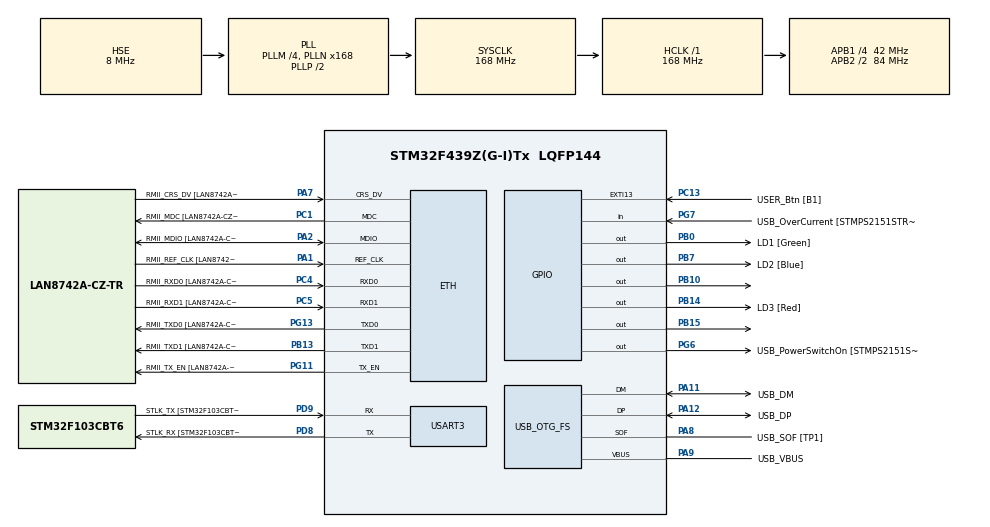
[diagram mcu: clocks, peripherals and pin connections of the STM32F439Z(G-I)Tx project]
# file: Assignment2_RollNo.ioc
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ETH.MediaInterface=HAL_ETH_RMII_MODE
ETH.PHY_Name=LAN8742A_PHY_ADDRESS
ETH.PHY_Value=0
ETH.PhyAddress=0
Mcu.Family=STM32F4
Mcu.Name=STM32F439Z(G-I)Tx
Mcu.Package=LQFP144
NVIC.PriorityGroup=NVIC_PRIORITYGROUP_4
PA1.GPIO_Label=RMII_REF_CLK [LAN8742A-CZ-TR_REFCLK0]
PA1.Mode=RMII
PA1.Signal=ETH_REF_CLK
PA10.GPIO_Label=USB_ID
PA10.Signal=USB_OTG_FS_ID
PA11.GPIO_Label=USB_DM
PA11.Mode=Device_Only
PA11.Signal=USB_OTG_FS_DM
PA12.GPIO_Label=USB_DP
PA12.Mode=Device_Only
PA12.Signal=USB_OTG_FS_DP
PA13.GPIO_Label=TMS
PA13.Mode=Serial_Wire
PA13.Signal=SYS_JTMS-SWDIO
PA14.GPIO_Label=TCK
PA14.Mode=Serial_Wire
PA14.Signal=SYS_JTCK-SWCLK
PA2.GPIO_Label=RMII_MDIO [LAN8742A-CZ-TR_MDIO]
PA2.Mode=RMII
PA2.Signal=ETH_MDIO
PA7.GPIO_Label=RMII_CRS_DV [LAN8742A-CZ-TR_CRS_DV]
PA7.Mode=RMII
PA7.Signal=ETH_CRS_DV
PA8.GPIO_Label=USB_SOF [TP1]
PA8.Mode=Activate_SOF_FS
PA8.Signal=USB_OTG_FS_SOF
PA9.GPIO_Label=USB_VBUS
PA9.Mode=Activate_VBUS
PA9.Signal=USB_OTG_FS_VBUS
PB0.GPIO_Label=LD1 [Green]
PB0.Signal=GPIO_Output
PB10.Signal=GPIO_Output
PB13.GPIO_Label=RMII_TXD1 [LAN8742A-CZ-TR_TXD1]
PB13.Mode=RMII
PB13.Signal=ETH_TXD1
PB14.GPIO_Label=LD3 [Red]
PB14.Signal=GPIO_Output
PB15.Signal=GPIO_Output
PB7.GPIO_Label=LD2 [Blue]
PB7.Signal=GPIO_Output
PC1.GPIO_Label=RMII_MDC [LAN8742A-CZ-TR_MDC]
PC1.Mode=RMII
PC1.Signal=ETH_MDC
PC13.GPIO_Label=USER_Btn [B1]
PC13.Signal=GPXTI13
PC14/OSC32_IN.Mode=LSE-External-Oscillator
PC14/OSC32_IN.Signal=RCC_OSC32_IN
PC15/OSC32_OUT.Mode=LSE-External-Oscillator
PC15/OSC32_OUT.Signal=RCC_OSC32_OUT
PC4.GPIO_Label=RMII_RXD0 [LAN8742A-CZ-TR_RXD0]
PC4.Mode=RMII
PC4.Signal=ETH_RXD0
PC5.GPIO_Label=RMII_RXD1 [LAN8742A-CZ-TR_RXD1]
PC5.Mode=RMII
PC5.Signal=ETH_RXD1
PD8.GPIO_Label=STLK_RX [STM32F103CBT6_PA3]
PD8.Mode=Asynchronous
PD8.Signal=USART3_TX
PD9.GPIO_Label=STLK_TX [STM32F103CBT6_PA2]
PD9.Mode=Asynchronous
PD9.Signal=USART3_RX
PG11.GPIO_Label=RMII_TX_EN [LAN8742A-CZ-TR_TXEN]
PG11.Mode=RMII
PG11.Signal=ETH_TX_EN
PG13.GPIO_Label=RMII_TXD0 [LAN8742A-CZ-TR_TXD0]
PG13.Mode=RMII
PG13.Signal=ETH_TXD0
PG6.GPIO_Label=USB_PowerSwitchOn [STMPS2151STR_EN]
PG6.Signal=GPIO_Output
PG7.GPIO_Label=USB_OverCurrent [STMPS2151STR_FAULT]
PG7.Signal=GPIO_Input
PH0/OSC_IN.GPIO_Label=MCO [STM32F103CBT6_PA8]
PH0/OSC_IN.Mode=HSE-External-Clock-Source
PH0/OSC_IN.Signal=RCC_OSC_IN
PH1/OSC_OUT.Mode=HSE-External-Clock-Source
PH1/OSC_OUT.Signal=RCC_OSC_OUT
ProjectManager.HeapSize=0x200
ProjectManager.StackSize=0x400
ProjectManager.TargetToolchain=STM32CubeIDE
RCC.48MHZClocksFreq_Value=48000000
RCC.AHBFreq_Value=168000000
RCC.APB1CLKDivider=RCC_HCLK_DIV4
RCC.APB1Freq_Value=42000000
RCC.APB1TimFreq_Value=84000000
RCC.APB2CLKDivider=RCC_HCLK_DIV2
RCC.APB2Freq_Value=84000000
RCC.APB2TimCLKDivider=2
RCC.APB2TimFreq_Value=168000000
RCC.CortexFreq_Value=168000000
RCC.HCLKFreq_Value=168000000
RCC.HSE_VALUE=8000000
RCC.HSI_VALUE=16000000
RCC.PLLM=4
RCC.PLLMUL=RCC_PLL_MUL9
RCC.PLLN=168
RCC.PLLQ=7
RCC.PRESCALERUSB=RCC_USBCLKSOURCE_PLL_DIV1_5
RCC.SYSCLKFreq_VALUE=168000000
RCC.SYSCLKSource=RCC_SYSCLKSOURCE_PLLCLK
RCC.SYSCLKSourceVirtual=RCC_SYSCLKSOURCE_PLLCLK
RCC.USBFreq_Value=48000000
RCC.VCOOutputFreq_Value=336000000
USART3.VirtualMode=VM_ASYNC
USB_OTG_FS.VirtualMode=Device_Only
board=NUCLEO-F439ZI

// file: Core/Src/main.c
/* USER CODE BEGIN Header */
/**
  ******************************************************************************
  * @file           : main.c
  * @brief          : Main program body
  ******************************************************************************
  * @attention
  *
  * Copyright (c) 2025 STMicroelectronics.
  * All rights reserved.
  *
  * This software is licensed under terms that can be found in the LICENSE file
  * in the root directory of this software component.
  * If no LICENSE file comes with this software, it is provided AS-IS.
  *
  ******************************************************************************
  */
/* USER CODE END Header */
#include "main.h"
#include "string.h"

/* USER CODE BEGIN Includes */
	int roll_no[] = {2,2,1,1,0,1,4,5,10,2,2,1,1,0,1,7,9}; //10 acts as a delimiter
	int time_unit = 1000;
	int size_roll_no = sizeof(roll_no) / sizeof(roll_no[0]);
/* USER CODE END Includes */

ETH_TxPacketConfig TxConfig;
ETH_DMADescTypeDef  DMARxDscrTab[ETH_RX_DESC_CNT]; /* Ethernet Rx DMA Descriptors */
ETH_DMADescTypeDef  DMATxDscrTab[ETH_TX_DESC_CNT]; /* Ethernet Tx DMA Descriptors */

ETH_HandleTypeDef heth;

UART_HandleTypeDef huart3;

PCD_HandleTypeDef hpcd_USB_OTG_FS;

void SystemClock_Config(void);
static void MX_GPIO_Init(void);
static void MX_ETH_Init(void);
static void MX_USART3_UART_Init(void);
static void MX_USB_OTG_FS_PCD_Init(void);

int main(void)
{

  /* MCU Configuration--------------------------------------------------------*/

  /* Reset of all peripherals, Initializes the Flash interface and the Systick. */
  HAL_Init();

  /* Configure the system clock */
  SystemClock_Config();

  /* Initialize all configured peripherals */
  MX_GPIO_Init();
  MX_ETH_Init();
  MX_USART3_UART_Init();
  MX_USB_OTG_FS_PCD_Init();

  /* Infinite loop */
  while (1)
  {

    /* USER CODE BEGIN 3 */
	  for (int i =0; i < size_roll_no; i++){
	  	if(roll_no[i] == 10){
	  			HAL_Delay(2*time_unit);
	  		}
	  	else {
	  		if (i>0){
	  		HAL_Delay(3*time_unit);
	  		}

			if(roll_no[i] == 0){
						HAL_GPIO_WritePin(GPIOB, GPIO_PIN_10, 1);
						HAL_Delay(time_unit);
						HAL_GPIO_WritePin(GPIOB, GPIO_PIN_10, 0);
					}
				int shift_num = roll_no[i] ;
				HAL_GPIO_WritePin(GPIOB, LD1_Pin, shift_num & 1 );
				shift_num = shift_num >> 1;
				HAL_GPIO_WritePin(GPIOB, LD2_Pin, shift_num & 1 );
				shift_num = shift_num >> 1;
				HAL_GPIO_WritePin(GPIOB, LD3_Pin, shift_num & 1 );
				shift_num = shift_num >> 1;
				HAL_GPIO_WritePin(GPIOB, GPIO_PIN_15, shift_num & 1 );

				HAL_Delay(time_unit);

				HAL_GPIO_WritePin(GPIOB, LD1_Pin, 0 );
				HAL_GPIO_WritePin(GPIOB, LD2_Pin, 0 );
				HAL_GPIO_WritePin(GPIOB, LD3_Pin, 0 );
				HAL_GPIO_WritePin(GPIOB, GPIO_PIN_15, 0);

				}
			}
	  HAL_Delay(10*time_unit);
  }

  /* USER CODE END 3 */
}

void SystemClock_Config(void)
{
  RCC_OscInitTypeDef RCC_OscInitStruct = {0};
  RCC_ClkInitTypeDef RCC_ClkInitStruct = {0};

  /** Configure the main internal regulator output voltage
  */
  __HAL_RCC_PWR_CLK_ENABLE();
  __HAL_PWR_VOLTAGESCALING_CONFIG(PWR_REGULATOR_VOLTAGE_SCALE1);

  /** Initializes the RCC Oscillators according to the specified parameters
  * in the RCC_OscInitTypeDef structure.
  */
  RCC_OscInitStruct.OscillatorType = RCC_OSCILLATORTYPE_HSE;
  RCC_OscInitStruct.HSEState = RCC_HSE_BYPASS;
  RCC_OscInitStruct.PLL.PLLState = RCC_PLL_ON;
  RCC_OscInitStruct.PLL.PLLSource = RCC_PLLSOURCE_HSE;
  RCC_OscInitStruct.PLL.PLLM = 4;
  RCC_OscInitStruct.PLL.PLLN = 168;
  RCC_OscInitStruct.PLL.PLLP = RCC_PLLP_DIV2;
  RCC_OscInitStruct.PLL.PLLQ = 7;
  if (HAL_RCC_OscConfig(&RCC_OscInitStruct) != HAL_OK)
  {
    Error_Handler();
  }

  /** Initializes the CPU, AHB and APB buses clocks
  */
  RCC_ClkInitStruct.ClockType = RCC_CLOCKTYPE_HCLK|RCC_CLOCKTYPE_SYSCLK
                              |RCC_CLOCKTYPE_PCLK1|RCC_CLOCKTYPE_PCLK2;
  RCC_ClkInitStruct.SYSCLKSource = RCC_SYSCLKSOURCE_PLLCLK;
  RCC_ClkInitStruct.AHBCLKDivider = RCC_SYSCLK_DIV1;
  RCC_ClkInitStruct.APB1CLKDivider = RCC_HCLK_DIV4;
  RCC_ClkInitStruct.APB2CLKDivider = RCC_HCLK_DIV2;

  if (HAL_RCC_ClockConfig(&RCC_ClkInitStruct, FLASH_LATENCY_5) != HAL_OK)
  {
    Error_Handler();
  }
}

static void MX_ETH_Init(void)
{

   static uint8_t MACAddr[6];

  heth.Instance = ETH;
  MACAddr[0] = 0x00;
  MACAddr[1] = 0x80;
  MACAddr[2] = 0xE1;
  MACAddr[3] = 0x00;
  MACAddr[4] = 0x00;
  MACAddr[5] = 0x00;
  heth.Init.MACAddr = &MACAddr[0];
  heth.Init.MediaInterface = HAL_ETH_RMII_MODE;
  heth.Init.TxDesc = DMATxDscrTab;
  heth.Init.RxDesc = DMARxDscrTab;
  heth.Init.RxBuffLen = 1524;

  if (HAL_ETH_Init(&heth) != HAL_OK)
  {
    Error_Handler();
  }

  memset(&TxConfig, 0 , sizeof(ETH_TxPacketConfig));
  TxConfig.Attributes = ETH_TX_PACKETS_FEATURES_CSUM | ETH_TX_PACKETS_FEATURES_CRCPAD;
  TxConfig.ChecksumCtrl = ETH_CHECKSUM_IPHDR_PAYLOAD_INSERT_PHDR_CALC;
  TxConfig.CRCPadCtrl = ETH_CRC_PAD_INSERT;

}

static void MX_USART3_UART_Init(void)
{

  huart3.Instance = USART3;
  huart3.Init.BaudRate = 115200;
  huart3.Init.WordLength = UART_WORDLENGTH_8B;
  huart3.Init.StopBits = UART_STOPBITS_1;
  huart3.Init.Parity = UART_PARITY_NONE;
  huart3.Init.Mode = UART_MODE_TX_RX;
  huart3.Init.HwFlowCtl = UART_HWCONTROL_NONE;
  huart3.Init.OverSampling = UART_OVERSAMPLING_16;
  if (HAL_UART_Init(&huart3) != HAL_OK)
  {
    Error_Handler();
  }

}

static void MX_USB_OTG_FS_PCD_Init(void)
{

  hpcd_USB_OTG_FS.Instance = USB_OTG_FS;
  hpcd_USB_OTG_FS.Init.dev_endpoints = 4;
  hpcd_USB_OTG_FS.Init.speed = PCD_SPEED_FULL;
  hpcd_USB_OTG_FS.Init.dma_enable = DISABLE;
  hpcd_USB_OTG_FS.Init.phy_itface = PCD_PHY_EMBEDDED;
  hpcd_USB_OTG_FS.Init.Sof_enable = ENABLE;
  hpcd_USB_OTG_FS.Init.low_power_enable = DISABLE;
  hpcd_USB_OTG_FS.Init.lpm_enable = DISABLE;
  hpcd_USB_OTG_FS.Init.vbus_sensing_enable = ENABLE;
  hpcd_USB_OTG_FS.Init.use_dedicated_ep1 = DISABLE;
  if (HAL_PCD_Init(&hpcd_USB_OTG_FS) != HAL_OK)
  {
    Error_Handler();
  }

}

static void MX_GPIO_Init(void)
{
  GPIO_InitTypeDef GPIO_InitStruct = {0};

  /* GPIO Ports Clock Enable */
  __HAL_RCC_GPIOC_CLK_ENABLE();
  __HAL_RCC_GPIOH_CLK_ENABLE();
  __HAL_RCC_GPIOA_CLK_ENABLE();
  __HAL_RCC_GPIOB_CLK_ENABLE();
  __HAL_RCC_GPIOD_CLK_ENABLE();
  __HAL_RCC_GPIOG_CLK_ENABLE();

  /*Configure GPIO pin Output Level */
  HAL_GPIO_WritePin(GPIOB, LD1_Pin|GPIO_PIN_10|LD3_Pin|GPIO_PIN_15
                          |LD2_Pin, GPIO_PIN_RESET);

  /*Configure GPIO pin Output Level */
  HAL_GPIO_WritePin(USB_PowerSwitchOn_GPIO_Port, USB_PowerSwitchOn_Pin, GPIO_PIN_RESET);

  /*Configure GPIO pin : USER_Btn_Pin */
  GPIO_InitStruct.Pin = USER_Btn_Pin;
  GPIO_InitStruct.Mode = GPIO_MODE_IT_RISING;
  GPIO_InitStruct.Pull = GPIO_NOPULL;
  HAL_GPIO_Init(USER_Btn_GPIO_Port, &GPIO_InitStruct);

  /*Configure GPIO pins : LD1_Pin PB10 LD3_Pin PB15
                           LD2_Pin */
  GPIO_InitStruct.Pin = LD1_Pin|GPIO_PIN_10|LD3_Pin|GPIO_PIN_15
                          |LD2_Pin;
  GPIO_InitStruct.Mode = GPIO_MODE_OUTPUT_PP;
  GPIO_InitStruct.Pull = GPIO_NOPULL;
  GPIO_InitStruct.Speed = GPIO_SPEED_FREQ_LOW;
  HAL_GPIO_Init(GPIOB, &GPIO_InitStruct);

  /*Configure GPIO pin : USB_PowerSwitchOn_Pin */
  GPIO_InitStruct.Pin = USB_PowerSwitchOn_Pin;
  GPIO_InitStruct.Mode = GPIO_MODE_OUTPUT_PP;
  GPIO_InitStruct.Pull = GPIO_NOPULL;
  GPIO_InitStruct.Speed = GPIO_SPEED_FREQ_LOW;
  HAL_GPIO_Init(USB_PowerSwitchOn_GPIO_Port, &GPIO_InitStruct);

  /*Configure GPIO pin : USB_OverCurrent_Pin */
  GPIO_InitStruct.Pin = USB_OverCurrent_Pin;
  GPIO_InitStruct.Mode = GPIO_MODE_INPUT;
  GPIO_InitStruct.Pull = GPIO_NOPULL;
  HAL_GPIO_Init(USB_OverCurrent_GPIO_Port, &GPIO_InitStruct);

}

void Error_Handler(void)
{
  __disable_irq();
  while (1)
  {
  }
}
